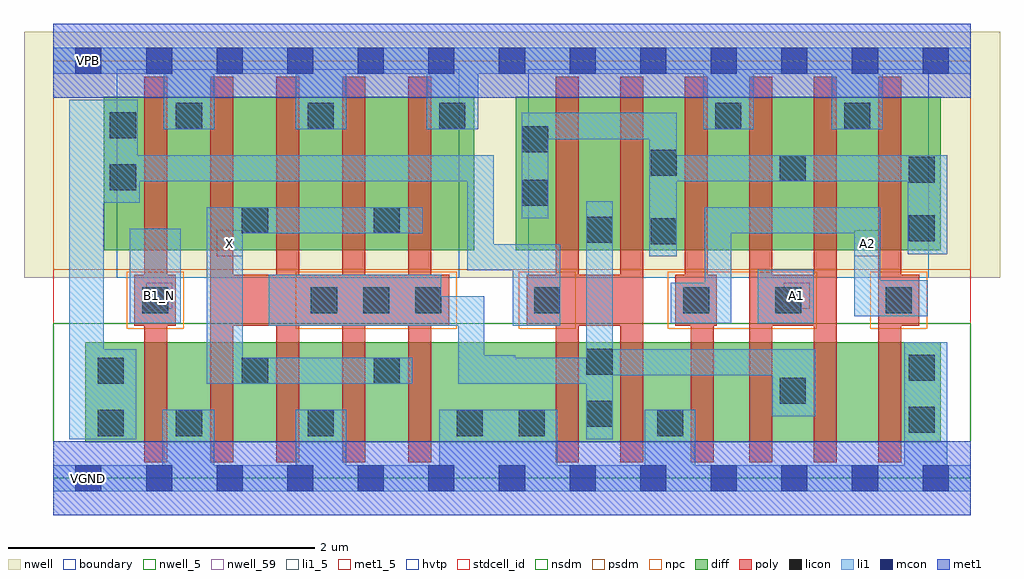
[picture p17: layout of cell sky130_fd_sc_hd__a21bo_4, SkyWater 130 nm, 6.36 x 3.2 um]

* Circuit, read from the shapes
.subckt sky130_fd_sc_hd__a21bo_4 A1 A2 B1_N VGND VNB VPB VPWR X
XM1 VGND B1_N n1 VNB sky130_fd_pr__nfet_01v8 w=0.65 l=0.15
XM2 X n2 VGND VNB sky130_fd_pr__nfet_01v8 w=0.65 l=0.15 m=4
XM3 n2 n1 VGND VNB sky130_fd_pr__nfet_01v8 w=0.65 l=0.15 m=2
XM4 n3 A2 VGND VNB sky130_fd_pr__nfet_01v8 w=0.65 l=0.15
XM5 n2 A1 n3 VNB sky130_fd_pr__nfet_01v8 w=0.65 l=0.15
XM6 n4 A1 n2 VNB sky130_fd_pr__nfet_01v8 w=0.65 l=0.15
XM7 VGND A2 n4 VNB sky130_fd_pr__nfet_01v8 w=0.65 l=0.15
XM8 VPWR B1_N n1 VPB sky130_fd_pr__pfet_01v8_hvt w=1 l=0.15
XM9 X n2 VPWR VPB sky130_fd_pr__pfet_01v8_hvt w=1 l=0.15 m=4
XM10 n2 n1 n5 VPB sky130_fd_pr__pfet_01v8_hvt w=1 l=0.15 m=2
XM11 VPWR A2 n5 VPB sky130_fd_pr__pfet_01v8_hvt w=1 l=0.15 m=2
XM12 n5 A1 VPWR VPB sky130_fd_pr__pfet_01v8_hvt w=1 l=0.15 m=2
.ends

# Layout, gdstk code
import gdstk
lib = gdstk.Library(unit=1e-6, precision=1e-09)
def R(c, l, rs):  # rectangles x0, y0, x1, y1
    for r in rs: c.add(gdstk.rectangle(r[:2], r[2:], *l))
def A(c, l, x, y, w, h, nx, ny, dx, dy):  # array of equal rectangles
    R(c, l, [(x+i*dx, y+j*dy, x+i*dx+w, y+j*dy+h) for i in range(nx) for j in range(ny)])
nwell_5 = (64, 5)
nwell = (64, 20)
nwell_59 = (64, 59)
diff = (65, 20)
poly = (66, 20)
licon = (66, 44)
li1_5 = (67, 5)
li1 = (67, 20)
mcon = (67, 44)
met1_5 = (68, 5)
met1 = (68, 20)
hvtp = (78, 44)
stdcell_id = (81, 4)
nsdm = (93, 44)
psdm = (94, 20)
npc = (95, 20)
boundary = (235, 4)

sky130_fd_sc_hd__a21bo_4 = lib.new_cell('sky130_fd_sc_hd__a21bo_4')
R(sky130_fd_sc_hd__a21bo_4, nwell_5, [(0.145,2.635,0.315,2.805)])
R(sky130_fd_sc_hd__a21bo_4, nwell, [(-0.19,1.305,6.17,2.91)])
R(sky130_fd_sc_hd__a21bo_4, nwell_59, [(0.145,-0.085,0.315,0.085)])
R(sky130_fd_sc_hd__a21bo_4, diff, [(0.21,0.235,5.785,0.885), (0.33,1.485,2.745,2.485), (3.015,1.485,5.785,2.485)])
A(sky130_fd_sc_hd__a21bo_4, poly, 0.595, 0.105, 0.15, 0.89, 5, 1, 0.43, 0)
A(sky130_fd_sc_hd__a21bo_4, poly, 4.535, 0.105, 0.15, 0.89, 3, 1, 0.42, 0)
A(sky130_fd_sc_hd__a21bo_4, poly, 0.595, 1.325, 0.15, 1.29, 5, 1, 0.43, 0)
A(sky130_fd_sc_hd__a21bo_4, poly, 3.275, 1.325, 0.15, 1.29, 6, 1, 0.42, 0)
R(sky130_fd_sc_hd__a21bo_4, poly, [(3.275,0.105,3.425,0.995), (3.695,0.105,3.845,0.995), (4.155,0.105,4.305,0.995), (0.53,0.995,0.8,1.325), (1.025,0.995,2.58,1.325), (3.085,0.995,3.845,1.325), (4.055,0.995,4.325,1.325), (4.535,0.995,5.105,1.325), (5.375,0.995,5.645,1.325)])
A(sky130_fd_sc_hd__a21bo_4, licon, 1.68, 1.075, 0.17, 0.17, 3, 1, 0.34, 0)
R(sky130_fd_sc_hd__a21bo_4, licon, [(0.29,0.275,0.46,0.445), (0.8,0.275,0.97,0.445), (1.66,0.275,1.83,0.445), (2.63,0.275,2.8,0.445), (3.035,0.275,3.205,0.445), (3.935,0.275,4.105,0.445), (5.575,0.295,5.745,0.465), (3.475,0.335,3.645,0.505), (4.735,0.485,4.905,0.655), (0.29,0.615,0.46,0.785), (1.23,0.615,1.4,0.785), (2.09,0.615,2.26,0.785), (5.575,0.635,5.745,0.805), (3.475,0.675,3.645,0.845), (0.58,1.075,0.75,1.245), (3.135,1.075,3.305,1.245), (4.105,1.075,4.275,1.245), (4.705,1.075,4.875,1.245), (5.425,1.075,5.595,1.245), (3.895,1.525,4.065,1.695), (3.475,1.535,3.645,1.705), (5.575,1.545,5.745,1.715), (1.23,1.595,1.4,1.765), (2.09,1.595,2.26,1.765), (3.055,1.775,3.225,1.945), (0.37,1.875,0.54,2.045), (5.575,1.925,5.745,2.095), (4.735,1.935,4.905,2.105), (3.895,1.97,4.065,2.14), (3.055,2.125,3.225,2.295), (0.37,2.215,0.54,2.385), (0.8,2.275,0.97,2.445), (1.66,2.275,1.83,2.445), (2.515,2.275,2.685,2.445), (4.315,2.275,4.485,2.445), (5.155,2.275,5.325,2.445)])
R(sky130_fd_sc_hd__a21bo_4, li1_5, [(0.605,1.105,0.775,1.275), (4.76,1.105,4.93,1.275), (1.065,1.445,1.235,1.615), (5.22,1.445,5.39,1.615)])
R(sky130_fd_sc_hd__a21bo_4, li1, [(0,-0.085,5.98,0.085), (0.71,0.085,1.05,0.445), (1.58,0.085,1.91,0.445), (2.515,0.085,3.285,0.445), (3.855,0.085,4.185,0.445), (5.545,0.085,5.825,0.885), (0.105,0.255,0.54,0.84), (3.475,0.255,3.645,0.615), (4.685,0.405,4.965,0.67), (1,0.615,2.34,0.785), (2.64,0.615,3.645,0.67), (2.64,0.67,4.965,0.785), (1,0.785,1.235,1.595), (2.64,0.785,3.01,0.8), (3.475,0.785,4.965,0.84), (2.64,0.8,2.81,0.995), (0.105,0.84,0.33,1.795), (3.475,0.84,3.645,1.805), (1.405,0.995,2.81,1.185), (2.995,0.995,3.305,1.355), (0.5,1.01,0.83,1.625), (4.025,1.01,4.42,1.275), (4.59,1.01,4.955,1.36), (5.22,1.055,5.7,1.29), (1.405,1.185,2.53,1.325), (4.245,1.275,4.42,1.595), (5.22,1.29,5.39,1.595), (2.7,1.355,3.305,1.525), (3.885,1.445,4.065,1.935), (5.57,1.46,5.825,1.935), (2.7,1.525,2.87,1.935), (1,1.595,2.41,1.765), (4.245,1.595,5.39,1.765), (3.055,1.695,3.225,2.21), (0.105,1.795,0.565,1.935), (0.105,1.935,2.87,2.105), (3.885,1.935,5.825,2.105), (0.105,2.105,0.55,2.465), (3.885,2.105,4.065,2.21), (3.055,2.21,4.065,2.38), (0.72,2.275,1.05,2.635), (1.58,2.275,1.91,2.635), (2.435,2.275,2.77,2.635), (4.235,2.275,4.565,2.635), (5.075,2.275,5.405,2.635), (0,2.635,5.98,2.805)])
A(sky130_fd_sc_hd__a21bo_4, mcon, 0.145, -0.085, 0.17, 0.17, 13, 2, 0.46, 2.72)
R(sky130_fd_sc_hd__a21bo_4, met1_5, [(0.145,-0.085,0.315,0.085), (0.145,2.635,0.315,2.805)])
R(sky130_fd_sc_hd__a21bo_4, met1, [(0,-0.24,5.98,0.24), (0,2.48,5.98,2.96)])
R(sky130_fd_sc_hd__a21bo_4, hvtp, [(0.415,1.305,2.645,2.665), (3.095,1.305,5.705,2.665)])
R(sky130_fd_sc_hd__a21bo_4, stdcell_id, [(0,0,5.98,2.72)])
R(sky130_fd_sc_hd__a21bo_4, nsdm, [(0,0,5.98,1.01)])
R(sky130_fd_sc_hd__a21bo_4, psdm, [(0,1.36,5.98,2.72)])
R(sky130_fd_sc_hd__a21bo_4, npc, [(0.48,0.975,0.85,1.345), (1.58,0.975,2.63,1.345), (3.035,0.975,3.405,1.345), (4.005,0.975,4.975,1.345), (5.325,0.975,5.695,1.345)])
R(sky130_fd_sc_hd__a21bo_4, boundary, [(0,0,5.98,2.72)])
sky130_fd_sc_hd__a21bo_4.add(gdstk.Label('A1', (4.845,1.19), layer=67, texttype=5))
sky130_fd_sc_hd__a21bo_4.add(gdstk.Label('A2', (5.305,1.53), layer=67, texttype=5))
sky130_fd_sc_hd__a21bo_4.add(gdstk.Label('B1_N', (0.69,1.19), layer=67, texttype=5))
sky130_fd_sc_hd__a21bo_4.add(gdstk.Label('VGND', (0.23,0), layer=68, texttype=5))
sky130_fd_sc_hd__a21bo_4.add(gdstk.Label('VNB', (0.23,0), layer=64, texttype=59))
sky130_fd_sc_hd__a21bo_4.add(gdstk.Label('VPB', (0.23,2.72), layer=64, texttype=5))
sky130_fd_sc_hd__a21bo_4.add(gdstk.Label('VPWR', (0.23,2.72), layer=68, texttype=5))
sky130_fd_sc_hd__a21bo_4.add(gdstk.Label('X', (1.15,1.53), layer=67, texttype=5))

lib.write_gds('sky130_fd_sc_hd__a21bo_4.gds')
